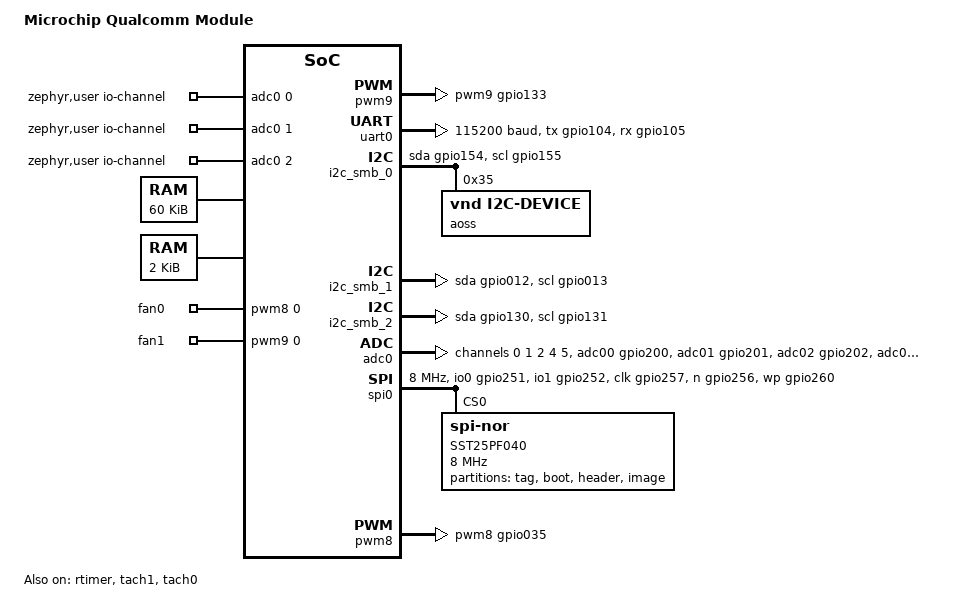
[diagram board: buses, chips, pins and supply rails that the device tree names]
/*
 * Copyright (c) 2025, Microchip Technology Inc.
 *
 * SPDX-License-Identifier: Apache-2.0
 */

/dts-v1/;

// For zephyr 3.7
#include <microchip/mec172xnsz.dtsi>
#include <microchip/mec172x/mec172xnsz-pinctrl.dtsi>
// For zephyr 3.7 end

// #include <microchip/mec/mec172xnsz.dtsi>
// #include <microchip/mec/mec172x/mec172xnsz-pinctrl.dtsi>

#include <dt-bindings/pwm/pwm.h>

/ {
	model = "Microchip Qualcomm Module";
	compatible = "microchip,qual_module-mec172x_nsz";

	chosen {
		zephyr,sram = &sram0;
		zephyr,flash = &flash0;
		zephyr,console = &uart0;
		zephyr,shell-uart = &uart0;
	};

	aliases {
		cpu-fan = &fan0;
		cpu-tach = &tach1;
		base-fan = &fan1;
		base-tach = &tach0;

		aoss-i2c = &i2c_smb_0;
        acpi-i2c = &i2c_smb_1;
        sen-i2c = &i2c_smb_2;
	};

	zephyr,user {
        acpi-int-gpios = <MCHP_GPIO_DECODE_226 GPIO_ACTIVE_HIGH>;
        sen-int-gpios = <MCHP_GPIO_DECODE_157 GPIO_ACTIVE_HIGH>;

        board-id0-gpios = <MCHP_GPIO_DECODE_204 GPIO_ACTIVE_HIGH>;
        board-id1-gpios = <MCHP_GPIO_DECODE_205 GPIO_ACTIVE_HIGH>;

        io-channels =  <&adc0 0>, <&adc0 1>, <&adc0 2>;

        thro-mira-gpios = <MCHP_GPIO_DECODE_164 GPIO_ACTIVE_HIGH>;
        wk-en-gpios = <MCHP_GPIO_DECODE_221 GPIO_ACTIVE_HIGH>;
        slp-indicator-gpios = <MCHP_GPIO_DECODE_011 GPIO_ACTIVE_HIGH>;
        soc-rev-gpios = <MCHP_GPIO_DECODE_203 GPIO_ACTIVE_HIGH>;
        resout-3p3-gpios = <MCHP_GPIO_DECODE_244 GPIO_ACTIVE_HIGH>;
        misc-1p8-gpios = <MCHP_GPIO_DECODE_240 GPIO_ACTIVE_HIGH>;
        ec-psl-gpios = <MCHP_GPIO_DECODE_243 GPIO_ACTIVE_HIGH>;
        soc-pwr-status-gpios = <MCHP_GPIO_DECODE_242 GPIO_ACTIVE_HIGH>;

		fan-max-rpm-gpios = <MCHP_GPIO_DECODE_206 GPIO_ACTIVE_HIGH>;
        fan-12v-enable-gpios = <MCHP_GPIO_DECODE_242 GPIO_ACTIVE_HIGH>;
    };

	soc {
        pwm9: pwm@40005890 {
			compatible = "microchip,xec-pwm";
			reg = < 0x40005890 0x20 >;
			pcrs = < 0x1 0x1f >;
			status = "disabled";
			#pwm-cells = < 0x3 >;
		};
    };

	/delete-node/ memory@118000;
	sram0: memory@118000 {
		compatible = "mmio-sram";
		// reg = <0x00118000 0xf800>;
		reg = <0x00118000 0xf000>;
	};

	retained_mem: memory@127000 {
		compatible = "zephyr,memory-region", "mmio-sram";
		reg = <0x00127000 0x800>;
	};

	pwmfans {
		compatible = "pwm-leds";
		fan0: fan0 {
			pwms = <&pwm8 0 PWM_USEC(40) PWM_POLARITY_NORMAL>;
		};
		fan1: fan1 {
			pwms = <&pwm9 0 PWM_USEC(40) PWM_POLARITY_NORMAL>;
		};
	};
};

&idle {
	min-residency-us = <100000>;
};

&suspend_to_ram {
	min-residency-us = <200000>;
};

&retained_mem {
	status = "okay";
	zephyr,memory-region = "retained";

	retainedmem {
		compatible = "zephyr,retained-ram";
		status = "okay";
		#address-cells = <1>;
		#size-cells = <1>;

		boot_info0: boot_info@0 {
			compatible = "zephyr,retention";
			status = "okay";
			reg = <0x0 0x400>;

            prefix = [08 04];
			checksum = <1>;
		};

		sys_info0: sys_info@400 {
			compatible = "zephyr,retention";
			status = "okay";
			reg = <0x400 0x400>;
		};
	};
};

&flash0 {
    partitions {
        compatible = "fixed-partitions";
        #address-cells = <1>;
        #size-cells = <1>;

        boot_partition: partition@0 {
            label = "bootloader";
            reg = <0x00000 DT_SIZE_K(64)>;
        };
        app_partition: partition@10000 {
            label = "app";
            // reg = <0x10000 0x58000>;
            reg = <0x10000 DT_SIZE_K(200)>;
        };
    };
};

/* Disable ARM SysTick kernel timer driver */
&systick {
	status = "disabled";
};

/* Enable MCHP kernel timer driver using 32KHz RTOS timer and 1MHz basic timer */
&rtimer {
	status = "okay";
};

&uart0 {
    status = "okay";
    current-speed = <115200>;
	pinctrl-0 = < &uart0_tx_gpio104 &uart0_rx_gpio105 >;
	pinctrl-names = "default";
};

&i2c_smb_0 {
    status = "okay";
    port_sel = <2>;
    pinctrl-0 = < &i2c02_sda_gpio154 &i2c02_scl_gpio155 >;
	pinctrl-names = "default";
    
    label = "aoss_i2c";

    aoss: aoss@35 {
        compatible = "vnd,i2c-device";
        reg = < 0x35 >;
    };
};

&i2c_smb_1 {
    status = "okay";
    port_sel = <7>;
    pinctrl-0 = < &i2c07_sda_gpio012 &i2c07_scl_gpio013 >;
	pinctrl-names = "default";

    label = "acpi_i2c";
};

&i2c_smb_2 {
    status = "okay";
    port_sel = <1>;
    pinctrl-0 = < &i2c01_sda_gpio130 &i2c01_scl_gpio131 >;
	pinctrl-names = "default";

    label = "sen_i2c";
};

&adc0 {
	#address-cells = <1>;
	#size-cells = <0>;

    status = "okay";
    pinctrl-0 = < &adc00_gpio200 &adc01_gpio201 &adc02_gpio202 &adc04_gpio204 &adc05_gpio205 >;
	pinctrl-names = "default";

    channel@0 {
		reg = <0>;
		zephyr,gain = "ADC_GAIN_1";
		zephyr,reference = "ADC_REF_INTERNAL";
		zephyr,acquisition-time = <0>;
		zephyr,resolution = <12>;
	};
	channel@1 {
		reg = <1>;
		zephyr,gain = "ADC_GAIN_1";
		zephyr,reference = "ADC_REF_INTERNAL";
		zephyr,acquisition-time = <0>;
		zephyr,resolution = <12>;
	};
	channel@2 {
		reg = <2>;
		zephyr,gain = "ADC_GAIN_1";
		zephyr,reference = "ADC_REF_INTERNAL";
		zephyr,acquisition-time = <0>;
		zephyr,resolution = <12>;
	};
    channel@4 {
		reg = <4>;
		zephyr,gain = "ADC_GAIN_1";
		zephyr,reference = "ADC_REF_INTERNAL";
		zephyr,acquisition-time = <0>;
		zephyr,resolution = <12>;
	};
    channel@5 {
		reg = <5>;
		zephyr,gain = "ADC_GAIN_1";
		zephyr,reference = "ADC_REF_INTERNAL";
		zephyr,acquisition-time = <0>;
		zephyr,resolution = <12>;
	};
};

&spi0 {
    compatible = "microchip,xec-qmspi-ldma";
    status = "okay";
    // port-sel = <1>;
    clock-frequency = <DT_FREQ_M(8)>;

    // // For external flash
    // chip-select = < 0x0 >;
    // pinctrl-0 = < &shd_io0_gpio223 
    //               &shd_io1_gpio224
    //               &shd_clk_gpio056
    //               &shd_cs0_n_gpio055 >;
    // gd25lb256: gd25lb256@0 {
	// 	compatible = "jedec,spi-nor";
	// 	size = <DT_SIZE_M(32)>;
	// 	reg = <0>;
	// 	spi-max-frequency = <DT_FREQ_M(8)>;
	// 	jedec-id = [c8 67 19];
	// 	status = "okay";
	// };

    // For internal flash
    pinctrl-0 = < &int_spi_io0_gpio251 
                  &int_spi_io1_gpio252
                  &int_spi_clk_gpio257
                  &int_spi_cs_n_gpio256
                  &int_spi_wp_gpio260 >;
    int_flash: sst25pf040@0 {
        compatible ="jedec,spi-nor";
        size = <DT_SIZE_M(4)>; // 4M bits (512K Bytes)
        label = "SST25PF040";
        reg = <0>;
        spi-max-frequency = <DT_FREQ_M(8)>; // DT_FREQ_M(40)
        status = "okay";
        jedec-id = [62 06 13];
    };

    pinctrl-names = "default";
};

&int_flash {
    partitions {
        compatible = "fixed-partitions";
        #address-cells = <1>;
        #size-cells = <1>;

        tag_partition: partition@0 {
            label = "tag";
            reg = <0x00000 0x08>;
        };

        bl_partition: partition@1000 {
            label = "boot";
            reg = <0x1000 DT_SIZE_K(64)>;
        };

        hdr_partition: partition@11000 {
            label = "header";
            reg = <0x11000 0x20>;
        };

        img_partition: partition@11020 {
            label = "image";
            // reg = <0x11020 0x58000>;
            reg = <0x11020 0x31FE0>; // 200KB - 20B
        };
    };
};

// Base Fan
&pwm8 {
    status = "okay";
    pinctrl-0 = < &pwm8_gpio035 >;
    pinctrl-names = "default";
};

&tach1 {
    status = "okay";
    pinctrl-0 = < &tach1_gpio051 >;
    pinctrl-names = "default";
};
// Base Fan end

// CPU Fan
&pwm9 {
    status = "okay";
    pinctrl-0 = < &pwm9_gpio133 >;
    pinctrl-names = "default";
};

&tach0 {
    status = "okay";
    pinctrl-0 = < &tach0_gpio050 >;
    pinctrl-names = "default";
};
// CPU Fan end

&pinctrl{
    /* Internal flash */
    /omit-if-no-ref/ int_spi_cs_n_gpio256: int_spi_cs_n_gpio256 {
        pinmux = < MCHP_XEC_PINMUX(0256, MCHP_AF1) >;
    };

    /omit-if-no-ref/ int_spi_clk_gpio257: int_spi_clk_gpio257 {
        pinmux = < MCHP_XEC_PINMUX(0257, MCHP_AF1) >;
    };

    /omit-if-no-ref/ int_spi_io0_gpio251: int_spi_io0_gpio251 {
        pinmux = < MCHP_XEC_PINMUX(0251, MCHP_AF1) >;
    };

    /omit-if-no-ref/ int_spi_io1_gpio252: int_spi_io1_gpio252 {
        pinmux = < MCHP_XEC_PINMUX(0252, MCHP_AF1) >;
    };

    /omit-if-no-ref/ int_spi_wp_gpio260: int_spi_wp_gpio260 {
        pinmux = < MCHP_XEC_PINMUX(0260, MCHP_AF0) >;
    };

	/* PWM */
	/omit-if-no-ref/ pwm9_gpio133: pwm9_gpio133 {
		pinmux = < MCHP_XEC_PINMUX(0133, MCHP_AF1) >;
	};
};
